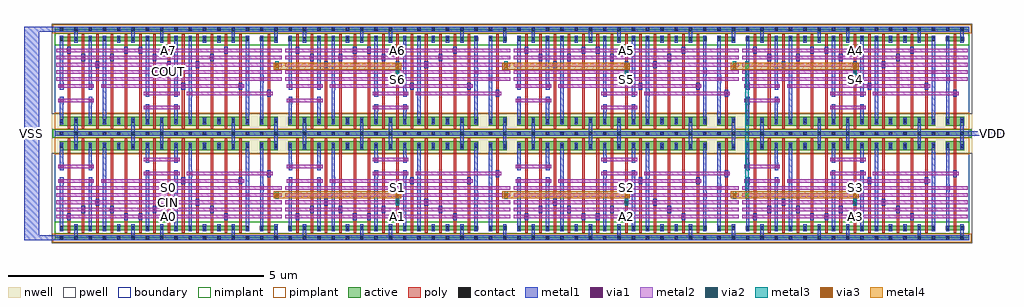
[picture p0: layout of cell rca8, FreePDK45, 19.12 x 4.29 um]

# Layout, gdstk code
import gdstk
lib = gdstk.Library(unit=1e-6, precision=5e-10)
def R(c, l, rs):  # rectangles x0, y0, x1, y1
    for r in rs: c.add(gdstk.rectangle(r[:2], r[2:], *l))
def A(c, l, x, y, w, h, nx, ny, dx, dy):  # array of equal rectangles
    R(c, l, [(x+i*dx, y+j*dy, x+i*dx+w, y+j*dy+h) for i in range(nx) for j in range(ny)])
active = (1, 0)
pwell = (2, 0)
nwell = (3, 0)
nimplant = (4, 0)
pimplant = (5, 0)
poly = (9, 0)
contact = (10, 0)
metal1 = (11, 0)
via1 = (12, 0)
metal2 = (13, 0)
via2 = (14, 0)
metal3 = (15, 0)
via3 = (16, 0)
metal4 = (17, 0)
boundary = (235, 0)

c_fa = lib.new_cell('fa')
R(c_fa, active, [(0,-0.05,4.48,0.045), (0.1,0.15,3.815,0.24), (4.02,0.15,4.375,0.24), (0.1,1.71,3.815,1.89), (4.02,1.71,4.375,1.89), (0,1.995,4.48,2.09)])
R(c_fa, pwell, [(-0.055,-0.105,4.535,1.655)])
R(c_fa, nwell, [(-0.055,1.655,4.535,2.145)])
R(c_fa, nimplant, [(0,0.08,4.48,0.31), (-0.035,1.96,4.515,2.125)])
R(c_fa, pimplant, [(-0.035,-0.085,4.515,0.08), (0,1.64,4.48,1.96)])
A(c_fa, poly, 0.255, 0.095, 0.05, 0.2, 13, 1, 0.28, 0)
A(c_fa, poly, 0.255, 0.295, 0.05, 1.36, 13, 1, 0.28, 0)
A(c_fa, poly, 0.255, 1.655, 0.05, 0.29, 13, 1, 0.28, 0)
R(c_fa, poly, [(4.175,0.095,4.225,0.295), (4.175,0.295,4.225,1.655), (0.24,0.375,0.315,0.45), (1.36,0.375,1.435,0.45), (1.64,0.375,1.715,0.45), (3.32,0.375,3.395,0.45), (0.52,0.515,0.595,0.59), (1.08,0.515,1.155,0.59), (1.92,0.515,1.995,0.59), (3.04,0.515,3.115,0.59), (0.8,0.655,0.875,0.73), (2.2,0.655,2.275,0.73), (2.76,0.655,2.835,0.73), (2.48,1.075,2.555,1.15), (3.6,1.075,3.675,1.15), (4.16,1.215,4.235,1.29), (4.175,1.655,4.225,1.945)])
A(c_fa, contact, 0.105, -0.035, 0.065, 0.065, 16, 2, 0.28, 0.195)
A(c_fa, contact, 0.105, 1.765, 0.065, 0.065, 16, 2, 0.28, 0.245)
R(c_fa, contact, [(0.245,0.38,0.31,0.445), (1.365,0.38,1.43,0.445), (1.645,0.38,1.71,0.445), (3.325,0.38,3.39,0.445), (0.525,0.52,0.59,0.585), (1.085,0.52,1.15,0.585), (1.925,0.52,1.99,0.585), (3.045,0.52,3.11,0.585), (0.805,0.66,0.87,0.725), (2.205,0.66,2.27,0.725), (2.765,0.66,2.83,0.725), (2.485,1.08,2.55,1.145), (3.605,1.08,3.67,1.145), (4.165,1.22,4.23,1.285)])
A(c_fa, metal1, 0.105, 0.125, 0.065, 0.135, 16, 2, 0.28, 1.605)
R(c_fa, metal1, [(0,-0.05,4.48,0.045), (0.385,0,0.45,0.125), (1.505,0,1.57,0.125), (2.065,0,2.13,0.125), (3.465,0,3.53,0.125), (4.305,0,4.37,0.125), (0.105,0.26,0.17,1.115), (0.665,0.26,0.73,1.115), (0.945,0.26,1.01,1.115), (1.785,0.26,1.85,1.255), (2.345,0.26,2.41,1.255), (2.625,0.26,2.69,1.255), (3.745,0.26,3.81,0.835), (4.025,0.26,4.09,0.975), (0.245,0.345,0.315,0.485), (1.365,0.345,1.435,0.485), (1.645,0.345,1.715,0.485), (3.325,0.345,3.395,0.485), (0.525,0.485,0.595,0.625), (1.085,0.485,1.155,0.625), (1.925,0.485,1.995,0.625), (3.045,0.485,3.115,0.625), (0.805,0.625,0.875,0.765), (2.205,0.625,2.275,0.765), (2.765,0.625,2.835,0.765), (3.745,0.765,3.815,0.905), (3.745,0.765,3.815,0.905), (3.745,0.835,3.81,1.73), (4.025,0.905,4.095,1.045), (4.025,0.905,4.095,1.045), (4.025,0.975,4.09,1.73), (0.105,1.045,0.175,1.185), (0.665,1.045,0.735,1.185), (0.945,1.045,1.015,1.185), (0.945,1.045,1.015,1.185), (2.485,1.045,2.555,1.185), (3.605,1.045,3.675,1.185), (0.945,1.115,1.01,1.73), (1.785,1.185,1.855,1.325), (2.345,1.185,2.415,1.325), (2.625,1.185,2.695,1.325), (2.625,1.185,2.695,1.325), (4.165,1.185,4.235,1.325), (2.625,1.255,2.69,1.73), (0.105,1.325,0.175,1.465), (0.665,1.325,0.735,1.465), (0.105,1.395,0.17,1.73), (0.665,1.395,0.73,1.73), (1.785,1.465,1.855,1.605), (2.345,1.465,2.415,1.605), (1.785,1.535,1.85,1.73), (2.345,1.535,2.41,1.73), (0.385,1.865,0.45,2.045), (1.505,1.865,1.57,2.045), (2.065,1.865,2.13,2.045), (3.465,1.865,3.53,2.045), (4.305,1.865,4.37,2.045), (0,1.995,4.48,2.09)])
R(c_fa, via1, [(0.245,0.38,0.315,0.45), (1.365,0.38,1.435,0.45), (1.645,0.38,1.715,0.45), (3.325,0.38,3.395,0.45), (0.525,0.52,0.595,0.59), (1.085,0.52,1.155,0.59), (1.925,0.52,1.995,0.59), (3.045,0.52,3.115,0.59), (0.805,0.66,0.875,0.73), (2.205,0.66,2.275,0.73), (2.765,0.66,2.835,0.73), (3.745,0.8,3.815,0.87), (3.745,0.8,3.815,0.87), (4.025,0.94,4.095,1.01), (4.025,0.94,4.095,1.01), (0.105,1.08,0.175,1.15), (0.665,1.08,0.735,1.15), (0.945,1.08,1.015,1.15), (0.945,1.08,1.015,1.15), (2.485,1.08,2.555,1.15), (3.605,1.08,3.675,1.15), (1.785,1.22,1.855,1.29), (2.345,1.22,2.415,1.29), (2.625,1.22,2.695,1.29), (2.625,1.22,2.695,1.29), (4.165,1.22,4.235,1.29), (0.105,1.36,0.175,1.43), (0.665,1.36,0.735,1.43), (1.785,1.5,1.855,1.57), (2.345,1.5,2.415,1.57)])
A(c_fa, metal2, 0.035, 0.38, 4.41, 0.07, 1, 5, 0, 0.14)
R(c_fa, metal2, [(0.21,0.38,0.35,0.45), (1.33,0.38,1.47,0.45), (1.61,0.38,1.75,0.45), (3.29,0.38,3.43,0.45), (0.49,0.52,0.63,0.59), (1.05,0.52,1.19,0.59), (1.89,0.52,2.03,0.59), (3.01,0.52,3.15,0.59), (0.77,0.66,0.91,0.73), (2.17,0.66,2.31,0.73), (2.73,0.66,2.87,0.73), (3.71,0.8,3.85,0.87), (3.71,0.8,3.85,0.87), (3.99,0.94,4.13,1.01), (3.99,0.94,4.13,1.01), (0.07,1.08,0.21,1.15), (0.14,1.08,0.7,1.15), (0.63,1.08,0.77,1.15), (0.91,1.08,1.05,1.15), (0.91,1.08,1.05,1.15), (0.98,1.08,3.64,1.15), (2.45,1.08,2.59,1.15), (3.57,1.08,3.71,1.15), (1.75,1.22,1.89,1.29), (1.82,1.22,2.38,1.29), (2.31,1.22,2.45,1.29), (2.59,1.22,2.73,1.29), (2.59,1.22,2.73,1.29), (2.66,1.22,4.2,1.29), (4.13,1.22,4.27,1.29), (0.07,1.36,0.21,1.43), (0.14,1.36,0.7,1.43), (0.63,1.36,0.77,1.43), (1.75,1.5,1.89,1.57), (1.82,1.5,2.38,1.57), (2.31,1.5,2.45,1.57)])
R(c_fa, boundary, [(0,0,4.48,2.045)])
c_fa.add(gdstk.Label('VSS', (2.24,-0.003), layer=11, texttype=1))
c_fa.add(gdstk.Label('VDD', (2.24,2.042), layer=11, texttype=1))
c_fa.add(gdstk.Label('COUT', (2.24,0.835), layer=13, texttype=1))
c_fa.add(gdstk.Label('SUM', (2.24,0.975), layer=13, texttype=1))
c_fa.add(gdstk.Label('A', (2.24,0.415), layer=13, texttype=1))
c_fa.add(gdstk.Label('B', (2.24,0.555), layer=13, texttype=1))
c_fa.add(gdstk.Label('CIN', (2.24,0.695), layer=13, texttype=1))

rca8 = lib.new_cell('rca8')
R(rca8, metal1, [(-0.6,-0.05,-0.3,4.135), (-0.6,-0.05,0,0.045), (17.92,1.995,18.52,2.09), (18.22,1.995,18.52,2.09), (-0.6,4.04,0,4.135)])
A(rca8, metal2, 6.65, 0.66, 0.14, 0.07, 3, 2, 4.48, 2.555)
A(rca8, metal2, 4.29, 0.8, 0.14, 0.07, 3, 2, 4.48, 2.555)
R(rca8, metal2, [(13.49,0.8,13.63,0.87), (13.49,3.355,13.63,3.425)])
A(rca8, via2, 6.685, 0.66, 0.07, 0.07, 3, 2, 4.48, 2.555)
A(rca8, via2, 4.325, 0.8, 0.07, 0.07, 3, 2, 4.48, 2.555)
R(rca8, via2, [(13.525,0.8,13.595,0.87), (13.525,3.355,13.595,3.425)])
A(rca8, metal3, 6.685, 0.625, 0.07, 0.14, 3, 2, 4.48, 2.555)
A(rca8, metal3, 6.685, 0.695, 0.07, 0.145, 3, 1, 4.48, 0)
A(rca8, metal3, 4.325, 0.765, 0.07, 0.14, 3, 2, 4.48, 2.555)
A(rca8, metal3, 4.325, 0.835, 0.07, 0.005, 3, 1, 4.48, 0)
A(rca8, metal3, 6.685, 3.25, 0.07, 0.11, 3, 1, 4.48, 0)
A(rca8, metal3, 4.325, 3.36, 0.07, 0.03, 3, 1, 4.48, 0)
R(rca8, metal3, [(13.525,0.765,13.595,0.905), (4.325,0.77,4.395,0.91), (6.685,0.77,6.755,0.91), (8.805,0.77,8.875,0.91), (11.165,0.77,11.235,0.91), (13.285,0.77,13.355,0.91), (15.645,0.77,15.715,0.91), (13.525,0.835,13.595,3.39), (4.325,3.29,4.395,3.43), (6.685,3.29,6.755,3.43), (8.805,3.29,8.875,3.43), (11.165,3.29,11.235,3.43), (13.285,3.29,13.355,3.43), (15.645,3.29,15.715,3.43), (13.525,3.32,13.595,3.46)])
R(rca8, via3, [(4.325,0.805,4.395,0.875), (6.685,0.805,6.755,0.875), (8.805,0.805,8.875,0.875), (11.165,0.805,11.235,0.875), (13.285,0.805,13.355,0.875), (15.645,0.805,15.715,0.875), (4.325,3.325,4.395,3.395), (6.685,3.325,6.755,3.395), (8.805,3.325,8.875,3.395), (11.165,3.325,11.235,3.395), (13.285,3.325,13.355,3.395), (15.645,3.325,15.715,3.395)])
A(rca8, metal4, 4.36, 0.77, 2.36, 0.14, 3, 2, 4.48, 2.52)
R(rca8, metal4, [(4.29,0.77,4.43,0.91), (6.65,0.77,6.79,0.91), (8.77,0.77,8.91,0.91), (11.13,0.77,11.27,0.91), (13.25,0.77,13.39,0.91), (15.61,0.77,15.75,0.91), (4.29,3.29,4.43,3.43), (6.65,3.29,6.79,3.43), (8.77,3.29,8.91,3.43), (11.13,3.29,11.27,3.43), (13.25,3.29,13.39,3.43), (15.61,3.29,15.75,3.43)])
rca8.add(gdstk.Reference(c_fa, (0,0)))
rca8.add(gdstk.Reference(c_fa, (4.48,0)))
rca8.add(gdstk.Reference(c_fa, (8.96,0)))
rca8.add(gdstk.Reference(c_fa, (13.44,0)))
rca8.add(gdstk.Reference(c_fa, (0,4.085), x_reflection=True))
rca8.add(gdstk.Reference(c_fa, (4.48,4.085), x_reflection=True))
rca8.add(gdstk.Reference(c_fa, (8.96,4.085), x_reflection=True))
rca8.add(gdstk.Reference(c_fa, (13.44,4.085), x_reflection=True))
rca8.add(gdstk.Label('VSS', (-0.45,2.042), layer=11, texttype=1))
rca8.add(gdstk.Label('VDD', (18.37,2.042), layer=11, texttype=1))
rca8.add(gdstk.Label('A0', (2.24,0.415), layer=13, texttype=1))
rca8.add(gdstk.Label('A1', (6.72,0.415), layer=13, texttype=1))
rca8.add(gdstk.Label('A2', (11.2,0.415), layer=13, texttype=1))
rca8.add(gdstk.Label('A3', (15.68,0.415), layer=13, texttype=1))
rca8.add(gdstk.Label('A4', (15.68,3.67), layer=13, texttype=1))
rca8.add(gdstk.Label('A5', (11.2,3.67), layer=13, texttype=1))
rca8.add(gdstk.Label('A6', (6.72,3.67), layer=13, texttype=1))
rca8.add(gdstk.Label('A7', (2.24,3.67), layer=13, texttype=1))
rca8.add(gdstk.Label('B0', (2.24,0.555), layer=13, texttype=1))
rca8.add(gdstk.Label('B1', (6.72,0.555), layer=13, texttype=1))
rca8.add(gdstk.Label('B2', (11.2,0.555), layer=13, texttype=1))
rca8.add(gdstk.Label('B3', (15.68,0.555), layer=13, texttype=1))
rca8.add(gdstk.Label('B4', (15.68,3.53), layer=13, texttype=1))
rca8.add(gdstk.Label('B5', (11.2,3.53), layer=13, texttype=1))
rca8.add(gdstk.Label('B6', (6.72,3.53), layer=13, texttype=1))
rca8.add(gdstk.Label('B7', (2.24,3.53), layer=13, texttype=1))
rca8.add(gdstk.Label('CIN', (2.24,0.695), layer=13, texttype=1))
rca8.add(gdstk.Label('COUT', (2.24,3.25), layer=13, texttype=1))
rca8.add(gdstk.Label('S0', (2.24,0.975), layer=13, texttype=1))
rca8.add(gdstk.Label('S1', (6.72,0.975), layer=13, texttype=1))
rca8.add(gdstk.Label('S2', (11.2,0.975), layer=13, texttype=1))
rca8.add(gdstk.Label('S3', (15.68,0.975), layer=13, texttype=1))
rca8.add(gdstk.Label('S4', (15.68,3.11), layer=13, texttype=1))
rca8.add(gdstk.Label('S5', (11.2,3.11), layer=13, texttype=1))
rca8.add(gdstk.Label('S6', (6.72,3.11), layer=13, texttype=1))
rca8.add(gdstk.Label('S7', (2.24,3.11), layer=13, texttype=1))

lib.write_gds('rca8.gds')
